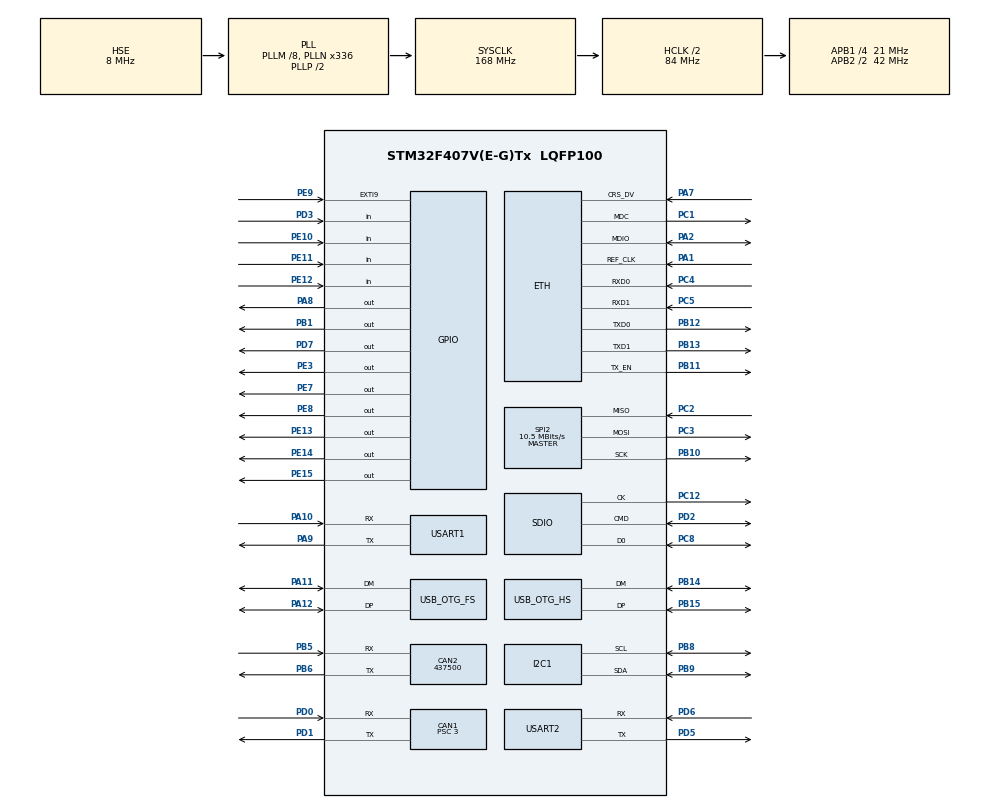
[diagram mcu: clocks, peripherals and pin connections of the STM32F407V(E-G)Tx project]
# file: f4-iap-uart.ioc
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CAN1.BS1=CAN_BS1_6TQ
CAN1.BS2=CAN_BS2_7TQ
CAN1.CalculateBaudRate=500000
CAN1.CalculateTimeBit=2000
CAN1.CalculateTimeQuantum=142.85714285714286
CAN1.Prescaler=3
CAN2.CalculateBaudRate=437500
CAN2.CalculateTimeBit=2285
CAN2.CalculateTimeQuantum=761.9047619047619
Dma.Request0=SDIO
Dma.Request1=USART1_RX
Dma.Request2=USART1_TX
Dma.SDIO.0.Direction=DMA_PERIPH_TO_MEMORY
Dma.SDIO.0.FIFOMode=DMA_FIFOMODE_ENABLE
Dma.SDIO.0.FIFOThreshold=DMA_FIFO_THRESHOLD_FULL
Dma.SDIO.0.Instance=DMA2_Stream3
Dma.SDIO.0.MemBurst=DMA_MBURST_INC4
Dma.SDIO.0.MemDataAlignment=DMA_MDATAALIGN_WORD
Dma.SDIO.0.MemInc=DMA_MINC_ENABLE
Dma.SDIO.0.Mode=DMA_PFCTRL
Dma.SDIO.0.PeriphBurst=DMA_PBURST_INC4
Dma.SDIO.0.PeriphDataAlignment=DMA_PDATAALIGN_WORD
Dma.SDIO.0.PeriphInc=DMA_PINC_DISABLE
Dma.SDIO.0.Priority=DMA_PRIORITY_LOW
Dma.USART1_RX.1.Direction=DMA_PERIPH_TO_MEMORY
Dma.USART1_RX.1.FIFOMode=DMA_FIFOMODE_DISABLE
Dma.USART1_RX.1.Instance=DMA2_Stream2
Dma.USART1_RX.1.MemDataAlignment=DMA_MDATAALIGN_BYTE
Dma.USART1_RX.1.MemInc=DMA_MINC_ENABLE
Dma.USART1_RX.1.Mode=DMA_NORMAL
Dma.USART1_RX.1.PeriphDataAlignment=DMA_PDATAALIGN_BYTE
Dma.USART1_RX.1.PeriphInc=DMA_PINC_DISABLE
Dma.USART1_RX.1.Priority=DMA_PRIORITY_LOW
Dma.USART1_TX.2.Direction=DMA_MEMORY_TO_PERIPH
Dma.USART1_TX.2.FIFOMode=DMA_FIFOMODE_DISABLE
Dma.USART1_TX.2.Instance=DMA2_Stream7
Dma.USART1_TX.2.MemDataAlignment=DMA_MDATAALIGN_BYTE
Dma.USART1_TX.2.MemInc=DMA_MINC_ENABLE
Dma.USART1_TX.2.Mode=DMA_NORMAL
Dma.USART1_TX.2.PeriphDataAlignment=DMA_PDATAALIGN_BYTE
Dma.USART1_TX.2.PeriphInc=DMA_PINC_DISABLE
Dma.USART1_TX.2.Priority=DMA_PRIORITY_LOW
ETH.MediaInterface=HAL_ETH_RMII_MODE
FATFS.BSP.number=1
FATFS.USE_DMA_CODE_SD=1
FATFS._CODE_PAGE=1
FATFS._STRF_ENCODE=0
FATFS0.BSP.STBoard=false
FATFS0.BSP.api=Unknown
FATFS0.BSP.instance=PD3
FATFS0.BSP.ip=GPIO
FATFS0.BSP.mode=Input
FATFS0.BSP.name=Detect_SDIO
FATFS0.BSP.solution=PD3
Mcu.Family=STM32F4
Mcu.Name=STM32F407V(E-G)Tx
Mcu.Package=LQFP100
NVIC.DMA2_Stream2_IRQn=true\:0\:0\:false\:false\:true\:false\:true\:true
NVIC.DMA2_Stream3_IRQn=true\:0\:0\:false\:false\:true\:false\:true\:true
NVIC.DMA2_Stream7_IRQn=true\:0\:0\:false\:false\:true\:false\:true\:true
NVIC.PriorityGroup=NVIC_PRIORITYGROUP_4
NVIC.SDIO_IRQn=true\:0\:0\:false\:false\:true\:true\:true\:true
NVIC.USART1_IRQn=true\:0\:0\:false\:false\:true\:true\:true\:true
PA1.Mode=RMII
PA1.Signal=ETH_REF_CLK
PA10.Mode=Asynchronous
PA10.Signal=USART1_RX
PA11.Mode=Host_Only
PA11.Signal=USB_OTG_FS_DM
PA12.Mode=Host_Only
PA12.Signal=USB_OTG_FS_DP
PA13.Mode=Serial_Wire
PA13.Signal=SYS_JTMS-SWDIO
PA14.Mode=Serial_Wire
PA14.Signal=SYS_JTCK-SWCLK
PA2.Mode=RMII
PA2.Signal=ETH_MDIO
PA7.Mode=RMII
PA7.Signal=ETH_CRS_DV
PA8.Signal=GPIO_Output
PA9.Mode=Asynchronous
PA9.Signal=USART1_TX
PB1.Signal=GPIO_Output
PB10.Mode=Full_Duplex_Master
PB10.Signal=SPI2_SCK
PB11.Mode=RMII
PB11.Signal=ETH_TX_EN
PB12.Mode=RMII
PB12.Signal=ETH_TXD0
PB13.Mode=RMII
PB13.Signal=ETH_TXD1
PB14.Mode=Host_FS
PB14.Signal=USB_OTG_HS_DM
PB15.Mode=Host_FS
PB15.Signal=USB_OTG_HS_DP
PB5.Mode=CAN_Activate
PB5.Signal=CAN2_RX
PB6.Mode=CAN_Activate
PB6.Signal=CAN2_TX
PB8.Mode=I2C
PB8.Signal=I2C1_SCL
PB9.Mode=I2C
PB9.Signal=I2C1_SDA
PC1.Mode=RMII
PC1.Signal=ETH_MDC
PC12.Mode=SD_1_bit
PC12.Signal=SDIO_CK
PC2.Mode=Full_Duplex_Master
PC2.Signal=SPI2_MISO
PC3.Mode=Full_Duplex_Master
PC3.Signal=SPI2_MOSI
PC4.Mode=RMII
PC4.Signal=ETH_RXD0
PC5.Mode=RMII
PC5.Signal=ETH_RXD1
PC8.Mode=SD_1_bit
PC8.Signal=SDIO_D0
PD0.Mode=CAN_Activate
PD0.Signal=CAN1_RX
PD1.Mode=CAN_Activate
PD1.Signal=CAN1_TX
PD2.Mode=SD_1_bit
PD2.Signal=SDIO_CMD
PD3.Signal=GPIO_Input
PD5.Mode=Asynchronous
PD5.Signal=USART2_TX
PD6.Mode=Asynchronous
PD6.Signal=USART2_RX
PD7.Signal=GPIO_Output
PE10.Signal=GPIO_Input
PE11.Signal=GPIO_Input
PE12.Signal=GPIO_Input
PE13.Signal=GPIO_Output
PE14.Signal=GPIO_Output
PE15.Signal=GPIO_Output
PE3.Signal=GPIO_Output
PE7.Signal=GPIO_Output
PE8.Signal=GPIO_Output
PE9.Signal=GPXTI9
PH0-OSC_IN.Mode=HSE-External-Oscillator
PH0-OSC_IN.Signal=RCC_OSC_IN
PH1-OSC_OUT.Mode=HSE-External-Oscillator
PH1-OSC_OUT.Signal=RCC_OSC_OUT
ProjectManager.HeapSize=0x200
ProjectManager.StackSize=0x1000
ProjectManager.TargetToolchain=Makefile
RCC.48MHZClocksFreq_Value=48000000
RCC.AHBCLKDivider=RCC_SYSCLK_DIV2
RCC.AHBFreq_Value=84000000
RCC.APB1CLKDivider=RCC_HCLK_DIV4
RCC.APB1Freq_Value=21000000
RCC.APB1TimFreq_Value=42000000
RCC.APB2CLKDivider=RCC_HCLK_DIV2
RCC.APB2Freq_Value=42000000
RCC.APB2TimFreq_Value=84000000
RCC.CortexFreq_Value=84000000
RCC.HCLKFreq_Value=84000000
RCC.HSE_VALUE=8000000
RCC.HSI_VALUE=16000000
RCC.LSE_VALUE=32768
RCC.PLLM=8
RCC.PLLN=336
RCC.PLLQ=7
RCC.SYSCLKFreq_VALUE=168000000
RCC.SYSCLKSource=RCC_SYSCLKSOURCE_PLLCLK
RCC.VCOOutputFreq_Value=336000000
SDIO.ClockDiv=118
SPI2.CalculateBaudRate=10.5 MBits/s
SPI2.Direction=SPI_DIRECTION_2LINES
SPI2.Mode=SPI_MODE_MASTER
SPI2.VirtualType=VM_MASTER
USART1.VirtualMode=VM_ASYNC
USART2.VirtualMode=VM_ASYNC
USB_OTG_FS.VirtualMode=Host_Only
USB_OTG_FS.phy_itface=HCD_PHY_EMBEDDED
USB_OTG_HS.VirtualMode-Host_FS=Host_FS
VP_FATFS_VS_SDIO.Mode=SDIO
board=custom

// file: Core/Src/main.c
/* USER CODE BEGIN Header */
/**
 ******************************************************************************
 * @file           : main.c
 * @brief          : Main program body
 ******************************************************************************
 * @attention
 *
 * Copyright (c) 2023 STMicroelectronics.
 * All rights reserved.
 *
 * This software is licensed under terms that can be found in the LICENSE file
 * in the root directory of this software component.
 * If no LICENSE file comes with this software, it is provided AS-IS.
 *
 ******************************************************************************
 */
/* USER CODE END Header */
#include "main.h"
#include "fatfs.h"
#include "string.h"

/* USER CODE BEGIN Includes */
#include "iap-uart.h"
/* USER CODE END Includes */

ETH_TxPacketConfig TxConfig;
ETH_DMADescTypeDef
    DMARxDscrTab[ETH_RX_DESC_CNT]; /* Ethernet Rx DMA Descriptors */
ETH_DMADescTypeDef
    DMATxDscrTab[ETH_TX_DESC_CNT]; /* Ethernet Tx DMA Descriptors */

CAN_HandleTypeDef hcan1;
CAN_HandleTypeDef hcan2;

ETH_HandleTypeDef heth;

I2C_HandleTypeDef hi2c1;

SD_HandleTypeDef hsd;
DMA_HandleTypeDef hdma_sdio;

SPI_HandleTypeDef hspi2;

UART_HandleTypeDef huart1;
UART_HandleTypeDef huart2;
DMA_HandleTypeDef hdma_usart1_rx;
DMA_HandleTypeDef hdma_usart1_tx;

HCD_HandleTypeDef hhcd_USB_OTG_FS;
HCD_HandleTypeDef hhcd_USB_OTG_HS;

void SystemClock_Config(void);
static void MX_GPIO_Init(void);
static void MX_DMA_Init(void);
static void MX_CAN1_Init(void);
static void MX_CAN2_Init(void);
static void MX_ETH_Init(void);
static void MX_I2C1_Init(void);
static void MX_SDIO_SD_Init(void);
static void MX_SPI2_Init(void);
static void MX_USART1_UART_Init(void);
static void MX_USART2_UART_Init(void);
static void MX_USB_OTG_FS_HCD_Init(void);
static void MX_USB_OTG_HS_HCD_Init(void);

int main(void)
{

        /* MCU
         * Configuration--------------------------------------------------------*/

        /* Reset of all peripherals, Initializes the Flash interface and the
         * Systick. */
        HAL_Init();

        /* Configure the system clock */
        SystemClock_Config();

        /* Initialize all configured peripherals */
        MX_GPIO_Init();
        MX_DMA_Init();
        MX_CAN1_Init();
        MX_CAN2_Init();
        MX_ETH_Init();
        MX_I2C1_Init();
        MX_SDIO_SD_Init();
        MX_SPI2_Init();
        MX_USART1_UART_Init();
        MX_USART2_UART_Init();
        MX_USB_OTG_FS_HCD_Init();
        MX_USB_OTG_HS_HCD_Init();
        /* USER CODE BEGIN 2 */
        extern volatile bool iap_uart_recv_flag;
        extern volatile bool iap_uart_send_flag;
        extern volatile uint32_t iap_uart_recv_remaining_cnt;

        iap_uart_config_t iap_uart_config = {
            .huart = &huart1,
            .recv_flag = &iap_uart_recv_flag,
            .send_flag = &iap_uart_send_flag,
            .recv_remaining_cnt = &iap_uart_recv_remaining_cnt};

        chip_config_t chip_config = {.chip_family = CHIP_FAMILY_F40x,
                                     .chip_flash_addr = 0x8000000,
                                     .chip_flash_size = 0x80000,
                                     .chip_ram_addr = 0x20000000,
                                     .chip_ram_size = 0x20000};

        iap_t iap;
        iap_init(&iap, &iap_uart_config, &chip_config);

        iap.iap_proc(&iap);
        /* USER CODE END 2 */

        /* Infinite loop */
        while (1) {

        }
}

void SystemClock_Config(void)
{
        RCC_OscInitTypeDef RCC_OscInitStruct = {0};
        RCC_ClkInitTypeDef RCC_ClkInitStruct = {0};

        /** Configure the main internal regulator output voltage
         */
        __HAL_RCC_PWR_CLK_ENABLE();
        __HAL_PWR_VOLTAGESCALING_CONFIG(PWR_REGULATOR_VOLTAGE_SCALE1);

        /** Initializes the RCC Oscillators according to the specified
         * parameters in the RCC_OscInitTypeDef structure.
         */
        RCC_OscInitStruct.OscillatorType = RCC_OSCILLATORTYPE_HSE;
        RCC_OscInitStruct.HSEState = RCC_HSE_ON;
        RCC_OscInitStruct.PLL.PLLState = RCC_PLL_ON;
        RCC_OscInitStruct.PLL.PLLSource = RCC_PLLSOURCE_HSE;
        RCC_OscInitStruct.PLL.PLLM = 8;
        RCC_OscInitStruct.PLL.PLLN = 336;
        RCC_OscInitStruct.PLL.PLLP = RCC_PLLP_DIV2;
        RCC_OscInitStruct.PLL.PLLQ = 7;
        if (HAL_RCC_OscConfig(&RCC_OscInitStruct) != HAL_OK) {
                Error_Handler();
        }

        /** Initializes the CPU, AHB and APB buses clocks
         */
        RCC_ClkInitStruct.ClockType = RCC_CLOCKTYPE_HCLK |
                                      RCC_CLOCKTYPE_SYSCLK |
                                      RCC_CLOCKTYPE_PCLK1 | RCC_CLOCKTYPE_PCLK2;
        RCC_ClkInitStruct.SYSCLKSource = RCC_SYSCLKSOURCE_PLLCLK;
        RCC_ClkInitStruct.AHBCLKDivider = RCC_SYSCLK_DIV2;
        RCC_ClkInitStruct.APB1CLKDivider = RCC_HCLK_DIV4;
        RCC_ClkInitStruct.APB2CLKDivider = RCC_HCLK_DIV2;

        if (HAL_RCC_ClockConfig(&RCC_ClkInitStruct, FLASH_LATENCY_2) !=
            HAL_OK) {
                Error_Handler();
        }
}

static void MX_CAN1_Init(void)
{

        hcan1.Instance = CAN1;
        hcan1.Init.Prescaler = 3;
        hcan1.Init.Mode = CAN_MODE_NORMAL;
        hcan1.Init.SyncJumpWidth = CAN_SJW_1TQ;
        hcan1.Init.TimeSeg1 = CAN_BS1_6TQ;
        hcan1.Init.TimeSeg2 = CAN_BS2_7TQ;
        hcan1.Init.TimeTriggeredMode = DISABLE;
        hcan1.Init.AutoBusOff = DISABLE;
        hcan1.Init.AutoWakeUp = DISABLE;
        hcan1.Init.AutoRetransmission = DISABLE;
        hcan1.Init.ReceiveFifoLocked = DISABLE;
        hcan1.Init.TransmitFifoPriority = DISABLE;
        if (HAL_CAN_Init(&hcan1) != HAL_OK) {
                Error_Handler();
        }
}

static void MX_CAN2_Init(void)
{

        hcan2.Instance = CAN2;
        hcan2.Init.Prescaler = 16;
        hcan2.Init.Mode = CAN_MODE_NORMAL;
        hcan2.Init.SyncJumpWidth = CAN_SJW_1TQ;
        hcan2.Init.TimeSeg1 = CAN_BS1_1TQ;
        hcan2.Init.TimeSeg2 = CAN_BS2_1TQ;
        hcan2.Init.TimeTriggeredMode = DISABLE;
        hcan2.Init.AutoBusOff = DISABLE;
        hcan2.Init.AutoWakeUp = DISABLE;
        hcan2.Init.AutoRetransmission = DISABLE;
        hcan2.Init.ReceiveFifoLocked = DISABLE;
        hcan2.Init.TransmitFifoPriority = DISABLE;
        if (HAL_CAN_Init(&hcan2) != HAL_OK) {
                Error_Handler();
        }
}

static void MX_ETH_Init(void)
{

        static uint8_t MACAddr[6];

        heth.Instance = ETH;
        MACAddr[0] = 0x00;
        MACAddr[1] = 0x80;
        MACAddr[2] = 0xE1;
        MACAddr[3] = 0x00;
        MACAddr[4] = 0x00;
        MACAddr[5] = 0x00;
        heth.Init.MACAddr = &MACAddr[0];
        heth.Init.MediaInterface = HAL_ETH_RMII_MODE;
        heth.Init.TxDesc = DMATxDscrTab;
        heth.Init.RxDesc = DMARxDscrTab;
        heth.Init.RxBuffLen = 1524;

        if (HAL_ETH_Init(&heth) != HAL_OK) {
                Error_Handler();
        }

        memset(&TxConfig, 0, sizeof(ETH_TxPacketConfig));
        TxConfig.Attributes =
            ETH_TX_PACKETS_FEATURES_CSUM | ETH_TX_PACKETS_FEATURES_CRCPAD;
        TxConfig.ChecksumCtrl = ETH_CHECKSUM_IPHDR_PAYLOAD_INSERT_PHDR_CALC;
        TxConfig.CRCPadCtrl = ETH_CRC_PAD_INSERT;
}

static void MX_I2C1_Init(void)
{

        hi2c1.Instance = I2C1;
        hi2c1.Init.ClockSpeed = 100000;
        hi2c1.Init.DutyCycle = I2C_DUTYCYCLE_2;
        hi2c1.Init.OwnAddress1 = 0;
        hi2c1.Init.AddressingMode = I2C_ADDRESSINGMODE_7BIT;
        hi2c1.Init.DualAddressMode = I2C_DUALADDRESS_DISABLE;
        hi2c1.Init.OwnAddress2 = 0;
        hi2c1.Init.GeneralCallMode = I2C_GENERALCALL_DISABLE;
        hi2c1.Init.NoStretchMode = I2C_NOSTRETCH_DISABLE;
        if (HAL_I2C_Init(&hi2c1) != HAL_OK) {
                Error_Handler();
        }
}

static void MX_SDIO_SD_Init(void)
{

        hsd.Instance = SDIO;
        hsd.Init.ClockEdge = SDIO_CLOCK_EDGE_RISING;
        hsd.Init.ClockBypass = SDIO_CLOCK_BYPASS_DISABLE;
        hsd.Init.ClockPowerSave = SDIO_CLOCK_POWER_SAVE_DISABLE;
        hsd.Init.BusWide = SDIO_BUS_WIDE_1B;
        hsd.Init.HardwareFlowControl = SDIO_HARDWARE_FLOW_CONTROL_DISABLE;
        hsd.Init.ClockDiv = 118;
}

static void MX_SPI2_Init(void)
{

        /* SPI2 parameter configuration*/
        hspi2.Instance = SPI2;
        hspi2.Init.Mode = SPI_MODE_MASTER;
        hspi2.Init.Direction = SPI_DIRECTION_2LINES;
        hspi2.Init.DataSize = SPI_DATASIZE_8BIT;
        hspi2.Init.CLKPolarity = SPI_POLARITY_LOW;
        hspi2.Init.CLKPhase = SPI_PHASE_1EDGE;
        hspi2.Init.NSS = SPI_NSS_SOFT;
        hspi2.Init.BaudRatePrescaler = SPI_BAUDRATEPRESCALER_2;
        hspi2.Init.FirstBit = SPI_FIRSTBIT_MSB;
        hspi2.Init.TIMode = SPI_TIMODE_DISABLE;
        hspi2.Init.CRCCalculation = SPI_CRCCALCULATION_DISABLE;
        hspi2.Init.CRCPolynomial = 10;
        if (HAL_SPI_Init(&hspi2) != HAL_OK) {
                Error_Handler();
        }
}

static void MX_USART1_UART_Init(void)
{

        huart1.Instance = USART1;
        huart1.Init.BaudRate = 115200;
        huart1.Init.WordLength = UART_WORDLENGTH_8B;
        huart1.Init.StopBits = UART_STOPBITS_1;
        huart1.Init.Parity = UART_PARITY_NONE;
        huart1.Init.Mode = UART_MODE_TX_RX;
        huart1.Init.HwFlowCtl = UART_HWCONTROL_NONE;
        huart1.Init.OverSampling = UART_OVERSAMPLING_16;
        if (HAL_UART_Init(&huart1) != HAL_OK) {
                Error_Handler();
        }
}

static void MX_USART2_UART_Init(void)
{

        huart2.Instance = USART2;
        huart2.Init.BaudRate = 115200;
        huart2.Init.WordLength = UART_WORDLENGTH_8B;
        huart2.Init.StopBits = UART_STOPBITS_1;
        huart2.Init.Parity = UART_PARITY_NONE;
        huart2.Init.Mode = UART_MODE_TX_RX;
        huart2.Init.HwFlowCtl = UART_HWCONTROL_NONE;
        huart2.Init.OverSampling = UART_OVERSAMPLING_16;
        if (HAL_UART_Init(&huart2) != HAL_OK) {
                Error_Handler();
        }
}

static void MX_USB_OTG_FS_HCD_Init(void)
{

        hhcd_USB_OTG_FS.Instance = USB_OTG_FS;
        hhcd_USB_OTG_FS.Init.Host_channels = 8;
        hhcd_USB_OTG_FS.Init.speed = HCD_SPEED_FULL;
        hhcd_USB_OTG_FS.Init.dma_enable = DISABLE;
        hhcd_USB_OTG_FS.Init.phy_itface = HCD_PHY_EMBEDDED;
        hhcd_USB_OTG_FS.Init.Sof_enable = DISABLE;
        if (HAL_HCD_Init(&hhcd_USB_OTG_FS) != HAL_OK) {
                Error_Handler();
        }
}

static void MX_USB_OTG_HS_HCD_Init(void)
{

        hhcd_USB_OTG_HS.Instance = USB_OTG_HS;
        hhcd_USB_OTG_HS.Init.Host_channels = 12;
        hhcd_USB_OTG_HS.Init.speed = HCD_SPEED_FULL;
        hhcd_USB_OTG_HS.Init.dma_enable = DISABLE;
        hhcd_USB_OTG_HS.Init.phy_itface = USB_OTG_EMBEDDED_PHY;
        hhcd_USB_OTG_HS.Init.Sof_enable = DISABLE;
        hhcd_USB_OTG_HS.Init.low_power_enable = DISABLE;
        hhcd_USB_OTG_HS.Init.vbus_sensing_enable = DISABLE;
        hhcd_USB_OTG_HS.Init.use_external_vbus = DISABLE;
        if (HAL_HCD_Init(&hhcd_USB_OTG_HS) != HAL_OK) {
                Error_Handler();
        }
}

static void MX_DMA_Init(void)
{
        /* DMA controller clock enable */
        __HAL_RCC_DMA2_CLK_ENABLE();

        /* DMA interrupt init */
        /* DMA2_Stream2_IRQn interrupt configuration */
        HAL_NVIC_SetPriority(DMA2_Stream2_IRQn, 0, 0);
        HAL_NVIC_EnableIRQ(DMA2_Stream2_IRQn);
        /* DMA2_Stream3_IRQn interrupt configuration */
        HAL_NVIC_SetPriority(DMA2_Stream3_IRQn, 0, 0);
        HAL_NVIC_EnableIRQ(DMA2_Stream3_IRQn);
        /* DMA2_Stream7_IRQn interrupt configuration */
        HAL_NVIC_SetPriority(DMA2_Stream7_IRQn, 0, 0);
        HAL_NVIC_EnableIRQ(DMA2_Stream7_IRQn);
}

static void MX_GPIO_Init(void)
{
        GPIO_InitTypeDef GPIO_InitStruct = {0};

        /* GPIO Ports Clock Enable */
        __HAL_RCC_GPIOE_CLK_ENABLE();
        __HAL_RCC_GPIOH_CLK_ENABLE();
        __HAL_RCC_GPIOC_CLK_ENABLE();
        __HAL_RCC_GPIOA_CLK_ENABLE();
        __HAL_RCC_GPIOB_CLK_ENABLE();
        __HAL_RCC_GPIOD_CLK_ENABLE();

        /*Configure GPIO pin Output Level */
        HAL_GPIO_WritePin(GPIOE,
                          GPIO_PIN_3 | GPIO_PIN_7 | GPIO_PIN_8 | GPIO_PIN_13 |
                              GPIO_PIN_14 | GPIO_PIN_15,
                          GPIO_PIN_RESET);

        /*Configure GPIO pin Output Level */
        HAL_GPIO_WritePin(GPIOB, GPIO_PIN_1, GPIO_PIN_RESET);

        /*Configure GPIO pin Output Level */
        HAL_GPIO_WritePin(GPIOA, GPIO_PIN_8, GPIO_PIN_RESET);

        /*Configure GPIO pin Output Level */
        HAL_GPIO_WritePin(GPIOD, GPIO_PIN_7, GPIO_PIN_RESET);

        /*Configure GPIO pins : PE3 PE7 PE8 PE13
                                 PE14 PE15 */
        GPIO_InitStruct.Pin = GPIO_PIN_3 | GPIO_PIN_7 | GPIO_PIN_8 |
                              GPIO_PIN_13 | GPIO_PIN_14 | GPIO_PIN_15;
        GPIO_InitStruct.Mode = GPIO_MODE_OUTPUT_PP;
        GPIO_InitStruct.Pull = GPIO_NOPULL;
        GPIO_InitStruct.Speed = GPIO_SPEED_FREQ_LOW;
        HAL_GPIO_Init(GPIOE, &GPIO_InitStruct);

        /*Configure GPIO pin : PB1 */
        GPIO_InitStruct.Pin = GPIO_PIN_1;
        GPIO_InitStruct.Mode = GPIO_MODE_OUTPUT_PP;
        GPIO_InitStruct.Pull = GPIO_NOPULL;
        GPIO_InitStruct.Speed = GPIO_SPEED_FREQ_LOW;
        HAL_GPIO_Init(GPIOB, &GPIO_InitStruct);

        /*Configure GPIO pin : PE9 */
        GPIO_InitStruct.Pin = GPIO_PIN_9;
        GPIO_InitStruct.Mode = GPIO_MODE_IT_RISING;
        GPIO_InitStruct.Pull = GPIO_NOPULL;
        HAL_GPIO_Init(GPIOE, &GPIO_InitStruct);

        /*Configure GPIO pins : PE10 PE11 PE12 */
        GPIO_InitStruct.Pin = GPIO_PIN_10 | GPIO_PIN_11 | GPIO_PIN_12;
        GPIO_InitStruct.Mode = GPIO_MODE_INPUT;
        GPIO_InitStruct.Pull = GPIO_NOPULL;
        HAL_GPIO_Init(GPIOE, &GPIO_InitStruct);

        /*Configure GPIO pin : PA8 */
        GPIO_InitStruct.Pin = GPIO_PIN_8;
        GPIO_InitStruct.Mode = GPIO_MODE_OUTPUT_PP;
        GPIO_InitStruct.Pull = GPIO_NOPULL;
        GPIO_InitStruct.Speed = GPIO_SPEED_FREQ_LOW;
        HAL_GPIO_Init(GPIOA, &GPIO_InitStruct);

        /*Configure GPIO pin : PD3 */
        GPIO_InitStruct.Pin = GPIO_PIN_3;
        GPIO_InitStruct.Mode = GPIO_MODE_INPUT;
        GPIO_InitStruct.Pull = GPIO_NOPULL;
        HAL_GPIO_Init(GPIOD, &GPIO_InitStruct);

        /*Configure GPIO pin : PD7 */
        GPIO_InitStruct.Pin = GPIO_PIN_7;
        GPIO_InitStruct.Mode = GPIO_MODE_OUTPUT_PP;
        GPIO_InitStruct.Pull = GPIO_NOPULL;
        GPIO_InitStruct.Speed = GPIO_SPEED_FREQ_LOW;
        HAL_GPIO_Init(GPIOD, &GPIO_InitStruct);

}

void Error_Handler(void)
{
        /* USER CODE BEGIN Error_Handler_Debug */
        /* User can add his own implementation to report the HAL error return
         * state */
        __disable_irq();
        while (1) {
        }
        /* USER CODE END Error_Handler_Debug */
}

#ifdef USE_FULL_ASSERT
/**
 * @brief  Reports the name of the source file and the source line number
 *         where the assert_param error has occurred.
 * @param  file: pointer to the source file name
 * @param  line: assert_param error line source number
 * @retval None
 */
void assert_failed(uint8_t *file, uint32_t line)
{
        /* USER CODE BEGIN 6 */
        /* User can add his own implementation to report the file name and line
           number, ex: printf("Wrong parameters value: file %s on line %d\r\n",
           file, line) */
        /* USER CODE END 6 */
}
#endif /* USE_FULL_ASSERT */
